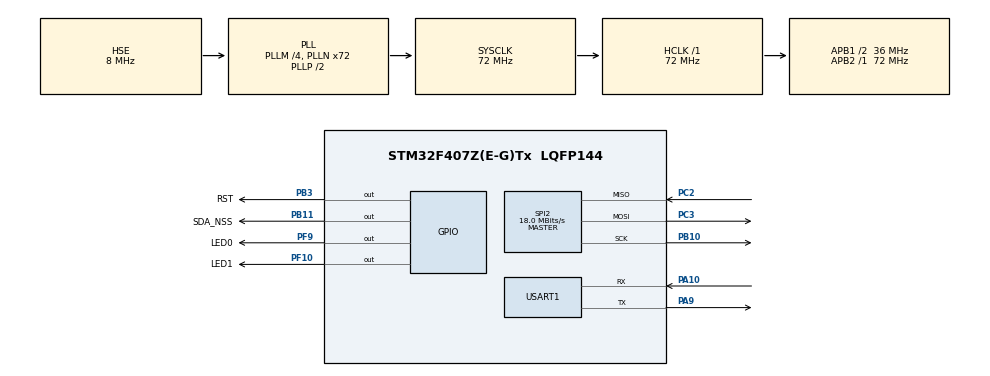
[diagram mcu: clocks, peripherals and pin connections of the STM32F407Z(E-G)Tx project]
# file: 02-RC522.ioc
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FREERTOS.Tasks01=LED_Task,0,128,Start_LED_Task,Default,NULL,Dynamic,NULL,NULL;RC522_Task,-3,128,Start_RC522_Task,Default,NULL,Dynamic,NULL,NULL
FREERTOS.configMAX_TASK_NAME_LEN=30
Mcu.Family=STM32F4
Mcu.Name=STM32F407Z(E-G)Tx
Mcu.Package=LQFP144
NVIC.PriorityGroup=NVIC_PRIORITYGROUP_4
NVIC.TIM8_UP_TIM13_IRQn=true\:15\:0\:false\:false\:true\:false\:false\:true\:true
NVIC.TimeBase=TIM8_UP_TIM13_IRQn
NVIC.TimeBaseIP=TIM8
NVIC.USART1_IRQn=true\:5\:0\:false\:false\:true\:true\:true\:true\:true
PA10.Mode=Asynchronous
PA10.Signal=USART1_RX
PA13.Mode=Serial_Wire
PA13.Signal=SYS_JTMS-SWDIO
PA14.Mode=Serial_Wire
PA14.Signal=SYS_JTCK-SWCLK
PA9.Mode=Asynchronous
PA9.Signal=USART1_TX
PB10.Mode=Full_Duplex_Master
PB10.Signal=SPI2_SCK
PB11.GPIO_Label=SDA_NSS
PB11.GPIO_Speed=GPIO_SPEED_FREQ_HIGH
PB11.Signal=GPIO_Output
PB3.GPIO_Label=RST
PB3.GPIO_PuPd=GPIO_NOPULL
PB3.GPIO_Speed=GPIO_SPEED_FREQ_HIGH
PB3.Signal=GPIO_Output
PC2.Mode=Full_Duplex_Master
PC2.Signal=SPI2_MISO
PC3.Mode=Full_Duplex_Master
PC3.Signal=SPI2_MOSI
PF10.GPIO_Label=LED1
PF10.GPIO_PuPd=GPIO_PULLUP
PF10.GPIO_Speed=GPIO_SPEED_FREQ_HIGH
PF10.PinState=GPIO_PIN_SET
PF10.Signal=GPIO_Output
PF9.GPIO_Label=LED0
PF9.GPIO_PuPd=GPIO_PULLUP
PF9.GPIO_Speed=GPIO_SPEED_FREQ_HIGH
PF9.PinState=GPIO_PIN_SET
PF9.Signal=GPIO_Output
PH0-OSC_IN.Mode=HSE-External-Oscillator
PH0-OSC_IN.Signal=RCC_OSC_IN
PH1-OSC_OUT.Mode=HSE-External-Oscillator
PH1-OSC_OUT.Signal=RCC_OSC_OUT
ProjectManager.HeapSize=0x200
ProjectManager.StackSize=0x400
ProjectManager.TargetToolchain=MDK-ARM V5.32
RCC.48MHZClocksFreq_Value=36000000
RCC.AHBFreq_Value=72000000
RCC.APB1CLKDivider=RCC_HCLK_DIV2
RCC.APB1Freq_Value=36000000
RCC.APB1TimFreq_Value=72000000
RCC.APB2Freq_Value=72000000
RCC.APB2TimFreq_Value=72000000
RCC.CortexFreq_Value=72000000
RCC.HCLKFreq_Value=72000000
RCC.HSE_VALUE=8000000
RCC.HSI_VALUE=16000000
RCC.LSE_VALUE=32768
RCC.PLLM=4
RCC.PLLN=72
RCC.PLLSourceVirtual=RCC_PLLSOURCE_HSE
RCC.SYSCLKFreq_VALUE=72000000
RCC.SYSCLKSource=RCC_SYSCLKSOURCE_PLLCLK
RCC.VCOOutputFreq_Value=144000000
SPI2.CalculateBaudRate=18.0 MBits/s
SPI2.Direction=SPI_DIRECTION_2LINES
SPI2.Mode=SPI_MODE_MASTER
SPI2.VirtualType=VM_MASTER
TIM2.AutoReloadPreload=TIM_AUTORELOAD_PRELOAD_ENABLE
TIM2.Period=2000-1
TIM2.Prescaler=720-1
USART1.VirtualMode=VM_ASYNC
VP_FREERTOS_VS_CMSIS_V1.Mode=CMSIS_V1
VP_SYS_VS_tim8.Mode=TIM8
VP_TIM2_VS_ClockSourceINT.Mode=Internal
board=custom

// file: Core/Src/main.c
/* USER CODE BEGIN Header */
/**
  ******************************************************************************
  * @file           : main.c
  * @brief          : Main program body
  ******************************************************************************
  * @attention
  *
  * Copyright (c) 2024 STMicroelectronics.
  * All rights reserved.
  *
  * This software is licensed under terms that can be found in the LICENSE file
  * in the root directory of this software component.
  * If no LICENSE file comes with this software, it is provided AS-IS.
  *
  ******************************************************************************
  */
/* USER CODE END Header */
#include "main.h"
#include "cmsis_os.h"
#include "spi.h"
#include "tim.h"
#include "usart.h"
#include "gpio.h"

/* USER CODE BEGIN Includes */
#include "rc522.h"
#include <stdio.h>
#include <string.h>
#include "shell_port.h"

/* USER CODE END Includes */

void SystemClock_Config(void);
void MX_FREERTOS_Init(void);

int main(void)
{

    /* MCU Configuration--------------------------------------------------------*/

    /* Reset of all peripherals, Initializes the Flash interface and the Systick. */
    HAL_Init();

    /* Configure the system clock */
    SystemClock_Config();

    /* Initialize all configured peripherals */
    MX_GPIO_Init();
    MX_TIM2_Init();
    MX_SPI2_Init();
    MX_USART1_UART_Init();
    /* USER CODE BEGIN 2 */

//    MFRC_Init();
//    PCD_Reset();
//    printf("RC522初始化成功\r\n");
	/* USER CODE BEGIN 2 */
//使能串口中断接收
	HAL_UART_Receive_IT(&huart1, (uint8_t*)&recv_buf, 1);
	User_Shell_Init();
/* USER CODE END 2 */

    /* USER CODE END 2 */

    /* Call init function for freertos objects (in cmsis_os2.c) */
    MX_FREERTOS_Init();

    /* Start scheduler */
    osKernelStart();

    /* We should never get here as control is now taken by the scheduler */

    /* Infinite loop */
    while (1)
    {

    }
}

void SystemClock_Config(void)
{
    RCC_OscInitTypeDef RCC_OscInitStruct = {0};
    RCC_ClkInitTypeDef RCC_ClkInitStruct = {0};

    /** Configure the main internal regulator output voltage
    */
    __HAL_RCC_PWR_CLK_ENABLE();
    __HAL_PWR_VOLTAGESCALING_CONFIG(PWR_REGULATOR_VOLTAGE_SCALE1);

    /** Initializes the RCC Oscillators according to the specified parameters
    * in the RCC_OscInitTypeDef structure.
    */
    RCC_OscInitStruct.OscillatorType = RCC_OSCILLATORTYPE_HSE;
    RCC_OscInitStruct.HSEState = RCC_HSE_ON;
    RCC_OscInitStruct.PLL.PLLState = RCC_PLL_ON;
    RCC_OscInitStruct.PLL.PLLSource = RCC_PLLSOURCE_HSE;
    RCC_OscInitStruct.PLL.PLLM = 4;
    RCC_OscInitStruct.PLL.PLLN = 72;
    RCC_OscInitStruct.PLL.PLLP = RCC_PLLP_DIV2;
    RCC_OscInitStruct.PLL.PLLQ = 4;
    if (HAL_RCC_OscConfig(&RCC_OscInitStruct) != HAL_OK)
    {
        Error_Handler();
    }

    /** Initializes the CPU, AHB and APB buses clocks
    */
    RCC_ClkInitStruct.ClockType = RCC_CLOCKTYPE_HCLK|RCC_CLOCKTYPE_SYSCLK
                                  |RCC_CLOCKTYPE_PCLK1|RCC_CLOCKTYPE_PCLK2;
    RCC_ClkInitStruct.SYSCLKSource = RCC_SYSCLKSOURCE_PLLCLK;
    RCC_ClkInitStruct.AHBCLKDivider = RCC_SYSCLK_DIV1;
    RCC_ClkInitStruct.APB1CLKDivider = RCC_HCLK_DIV2;
    RCC_ClkInitStruct.APB2CLKDivider = RCC_HCLK_DIV1;

    if (HAL_RCC_ClockConfig(&RCC_ClkInitStruct, FLASH_LATENCY_2) != HAL_OK)
    {
        Error_Handler();
    }
}

/* USER CODE BEGIN 4 */

/* USER CODE BEGIN 0 */
int test(int i, char ch, char *str)
{
    printf("input int: %d, char: %c, string: %s\r\n", i, ch, str);

	return 0;
}

//导出到命令列表里
SHELL_EXPORT_CMD(SHELL_CMD_PERMISSION(0)|SHELL_CMD_TYPE(SHELL_TYPE_CMD_FUNC), test, test, test);

/* USER CODE END 0 */

/* USER CODE END 4 */

void HAL_TIM_PeriodElapsedCallback(TIM_HandleTypeDef *htim)
{
    if (htim->Instance == TIM8) {
        HAL_IncTick();
    }
}

void Error_Handler(void)
{
    __disable_irq();
    while (1)
    {
    }
}

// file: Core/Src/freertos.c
/* USER CODE BEGIN Header */
/**
  ******************************************************************************
  * File Name          : freertos.c
  * Description        : Code for freertos applications
  ******************************************************************************
  * @attention
  *
  * Copyright (c) 2024 STMicroelectronics.
  * All rights reserved.
  *
  * This software is licensed under terms that can be found in the LICENSE file
  * in the root directory of this software component.
  * If no LICENSE file comes with this software, it is provided AS-IS.
  *
  ******************************************************************************
  */
/* USER CODE END Header */

#include "FreeRTOS.h"
#include "task.h"
#include "main.h"
#include "cmsis_os.h"

/* USER CODE BEGIN Includes */
#include "rc522.h"
#include <stdio.h>
#include <string.h>
#include "shell_port.h"

/* USER CODE END Includes */

osThreadId LED_TaskHandle;
osThreadId RC522_TaskHandle;

void Start_LED_Task(void const * argument);
void Start_RC522_Task(void const * argument);

void MX_FREERTOS_Init(void); /* (MISRA C 2004 rule 8.1) */

/* GetIdleTaskMemory prototype (linked to static allocation support) */
void vApplicationGetIdleTaskMemory( StaticTask_t **ppxIdleTaskTCBBuffer, StackType_t **ppxIdleTaskStackBuffer, uint32_t *pulIdleTaskStackSize );

/* USER CODE BEGIN GET_IDLE_TASK_MEMORY */
static StaticTask_t xIdleTaskTCBBuffer;
static StackType_t xIdleStack[configMINIMAL_STACK_SIZE];

void vApplicationGetIdleTaskMemory( StaticTask_t **ppxIdleTaskTCBBuffer, StackType_t **ppxIdleTaskStackBuffer, uint32_t *pulIdleTaskStackSize )
{
    *ppxIdleTaskTCBBuffer = &xIdleTaskTCBBuffer;
    *ppxIdleTaskStackBuffer = &xIdleStack[0];
    *pulIdleTaskStackSize = configMINIMAL_STACK_SIZE;
    /* place for user code */
}
/* USER CODE END GET_IDLE_TASK_MEMORY */

void MX_FREERTOS_Init(void) {

    /* Create the thread(s) */
    /* definition and creation of LED_Task */
    osThreadDef(LED_Task, Start_LED_Task, osPriorityNormal, 0, 128);
    LED_TaskHandle = osThreadCreate(osThread(LED_Task), NULL);

    /* definition and creation of RC522_Task */
    osThreadDef(RC522_Task, Start_RC522_Task, osPriorityIdle, 0, 128);
    RC522_TaskHandle = osThreadCreate(osThread(RC522_Task), NULL);

}

void Start_LED_Task(void const * argument)
{
    /* USER CODE BEGIN Start_LED_Task */
    /* Infinite loop */
    for(;;)
    {
        HAL_GPIO_TogglePin(LED0_GPIO_Port,LED0_Pin);
        HAL_GPIO_TogglePin(LED1_GPIO_Port,LED1_Pin);
        osDelay(500);
    }
    /* USER CODE END Start_LED_Task */
}

void Start_RC522_Task(void const * argument)
{
    /* USER CODE BEGIN Start_RC522_Task */

	uint8_t readUid[5];
	uint8_t UID[5]={0x73,0x44,0xa5,0x17};//自己的卡号，可以通过串口打印通过下面读取到的打印到上位机，再把那个读取的卡号填入数组
    /* Infinite loop */
    for(;;)
    {
			if(!readCard(readUid,NULL)){
			printf("卡号：%x-%x-%x-%x\n",readUid[0],readUid[1],readUid[2],readUid[3]);
			if(!strncmp((char *)readUid,(char *)UID,4)){
				//比对卡号正确要做什么
				printf("卡号正确\r\n");

			}
			else{
				//比对卡号错误要做什么
				printf("卡号错误\r\n");

			}
		}
			osDelay(500);
    }
    /* USER CODE END Start_RC522_Task */
}
